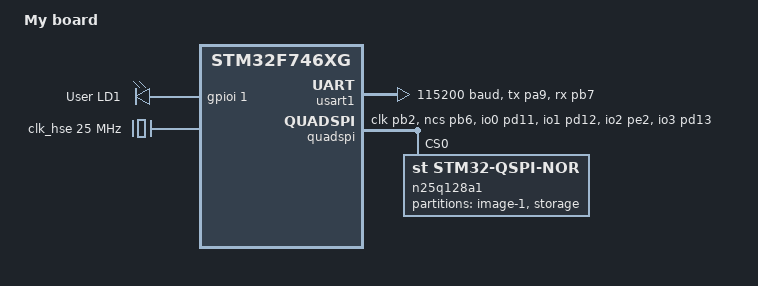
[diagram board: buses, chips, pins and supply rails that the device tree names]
/dts-v1/;
#include <st/f7/stm32f746Xg.dtsi>
#include <st/f7/stm32f746nghx-pinctrl.dtsi>
#include "arduino_r3_connector.dtsi"

/{
	model = "My board";
	compatible = "iomico,my_board";

	chosen {
		zephyr,console = &usart1;
		zephyr,sram = &sram0;
		zephyr,flash = &flash0;
		zephyr,flash-controller = &n25q128a1;


	};

	leds {
		compatible = "gpio-leds";

		green_led_1: led_1 {
			gpios = <&gpioi 1 GPIO_ACTIVE_HIGH>;
			label = "User LD1";
		};
	};

	aliases {
		led0 = &green_led_1;
	};

};


&usart1 {
	pinctrl-0 = <&usart1_tx_pa9 &usart1_rx_pb7>;
	pinctrl-names = "default";
	current-speed = <115200>;
	status = "okay";
};

&clk_hse {
	clock-frequency = <DT_FREQ_M(25)>;
	status = "okay";
};

&pll {
	div-m = <25>;
	mul-n = <432>;
	div-p = <2>;
	div-q = <9>;
	clocks = <&clk_hse>;
	status = "okay";
};

&rcc {
	clocks = <&pll>;
	clock-frequency = <DT_FREQ_M(216)>;
	ahb-prescaler = <1>;
	apb1-prescaler = <4>;
	apb2-prescaler = <2>;
};

&quadspi {
	pinctrl-0 = <&quadspi_clk_pb2 &quadspi_bk1_ncs_pb6
		     &quadspi_bk1_io0_pd11 &quadspi_bk1_io1_pd12
		     &quadspi_bk1_io2_pe2 &quadspi_bk1_io3_pd13>;
	pinctrl-names = "default";
	status = "okay";

	n25q128a1: qspi-nor-flash@0 {
		compatible = "st,stm32-qspi-nor";
		reg = <0>;
		size = <DT_SIZE_M(128)>; /* 128 Mbits */
		qspi-max-frequency = <72000000>;
		cs-high-time = <4>; /* >= 50 ns */
		status = "okay";

		partitions {
			compatible = "fixed-partitions";
			#address-cells = <1>;
			#size-cells = <1>;

			slot1_partition: partition@0 {
				label = "image-1";
				reg = <0x00000000 DT_SIZE_K(640)>;
			};

			storage_partition: partition@a0000 {
				label = "storage";
				reg = <0x000a0000 DT_SIZE_M(15)>;
			};
		};
	};
};
